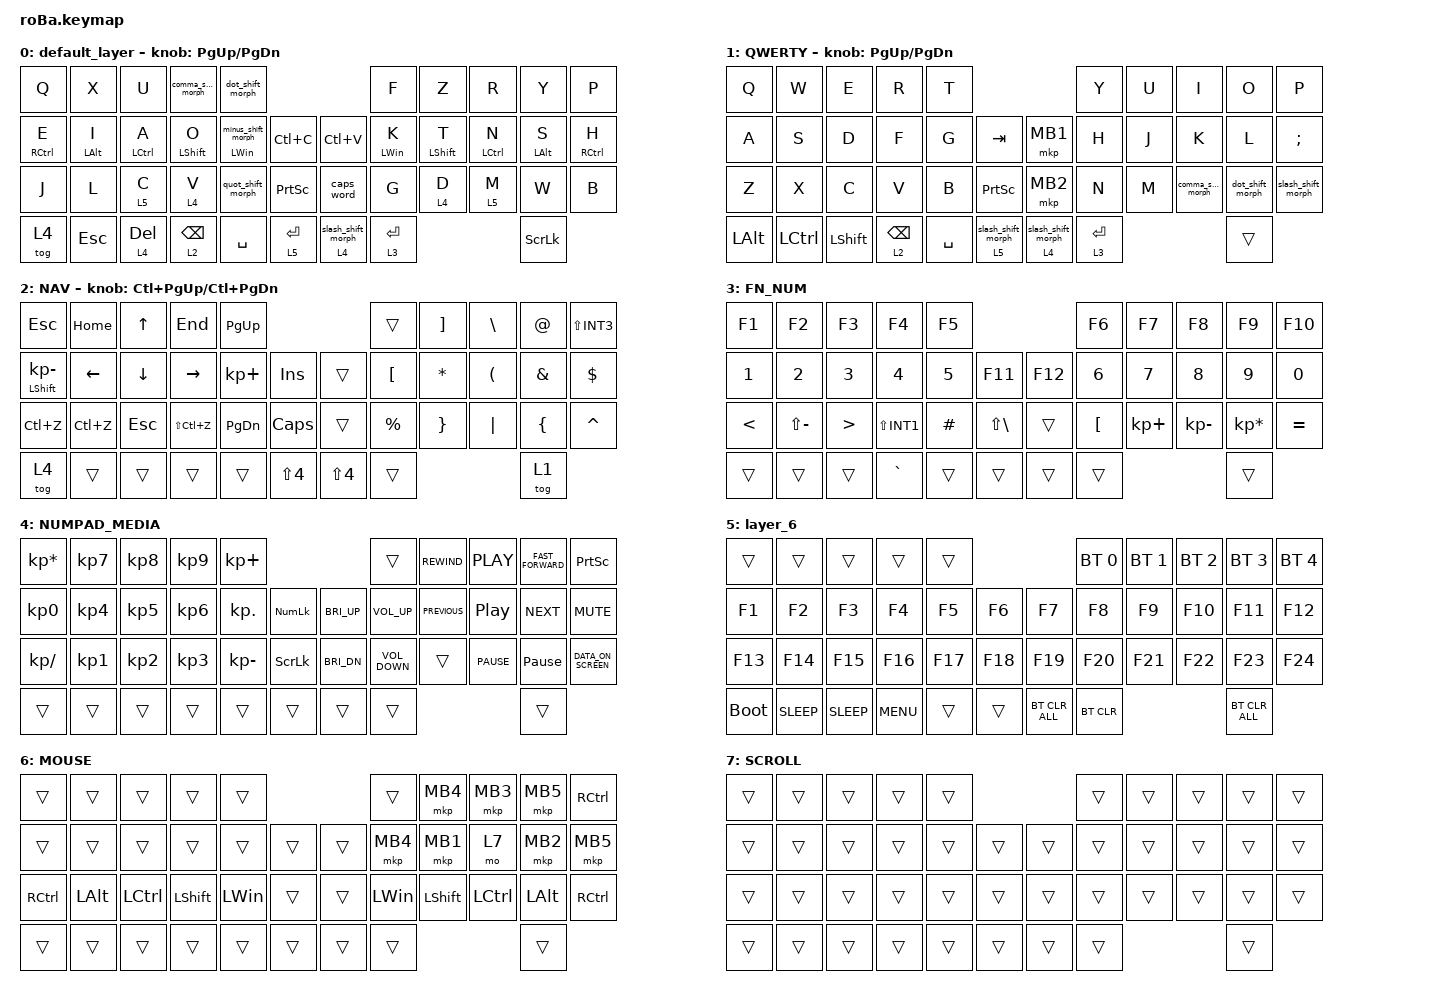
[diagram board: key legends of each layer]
#include <behaviors.dtsi>
#include <dt-bindings/zmk/bt.h>
#include <dt-bindings/zmk/keys.h>
#include <dt-bindings/zmk/pointing.h>
#include <dt-bindings/zmk/modifiers.h>

&mt {
    flavor = "balanced";
    tapping-term-ms = <150>;
    quick-tap-ms = <150>;
};

&lt {
    flavor = "balanced";
    tapping-term-ms = <150>;
    quick-tap-ms = <150>;
};

&trackball {
    automouse-layer = <6>;
    scroll-layers = <7>;

    // arrows {
    //     layers = <3>;
    //     bindings =
    //         <&kp RIGHT_ARROW>,
    //         <&kp LEFT_ARROW>,
    //         <&kp UP_ARROW>,
    //         <&kp DOWN_ARROW>;

    //     tick = <10>;
    //     wait-ms = <5>;
    //     tap-ms = <5>;
    // };
};

/ {
    combos {
        compatible = "zmk,combos";

        tab {
            bindings = <&kp TAB>;
            key-positions = <14 38>;
            timeout-ms = <100>;
        };

        shift_tab {
            bindings = <&kp LS(TAB)>;
            key-positions = <4 38>;
            timeout-ms = <100>;
        };

        eq {
            bindings = <&kp LS(MINUS)>;
            key-positions = <24 25>;
            timeout-ms = <80>;
        };

        ime_off {
            bindings = <&kp INT_MUHENKAN>;
            key-positions = <23 24>;
            timeout-ms = <80>;
        };

        ime_on {
            bindings = <&kp INT_HENKAN>;
            key-positions = <31 32>;
            timeout-ms = <80>;
        };

        bs_word {
            bindings = <&kp LC(BACKSPACE)>;
            key-positions = <26 37>;
            timeout-ms = <80>;
        };

        flow_launcher {
            bindings = <&kp F20>;
            key-positions = <37 41>;
            timeout-ms = <80>;
        };

        kill_left {
            bindings = <&kill_left_macro>;
            key-positions = <10 37>;
            timeout-ms = <80>;
        };

        kill_right {
            bindings = <&kill_right_macro>;
            key-positions = <21 37>;
            timeout-ms = <80>;
        };

        kill_all {
            bindings = <&kill_all_macro>;
            key-positions = <9 37>;
            timeout-ms = <80>;
        };

        bs2 {
            bindings = <&bs2_macro>;
            key-positions = <11 37>;
            timeout-ms = <80>;
        };

        bs3 {
            bindings = <&bs3_macro>;
            key-positions = <12 37>;
            timeout-ms = <80>;
        };

        bs4 {
            bindings = <&bs4_macro>;
            key-positions = <13 37>;
            timeout-ms = <80>;
        };

        bs5 {
            bindings = <&bs5_macro>;
            key-positions = <14 37>;
            timeout-ms = <80>;
        };

        bs6 {
            bindings = <&bs6_macro>;
            key-positions = <17 37>;
            timeout-ms = <80>;
        };

        bs7 {
            bindings = <&bs7_macro>;
            key-positions = <18 37>;
            timeout-ms = <80>;
        };

        bs8 {
            bindings = <&bs8_macro>;
            key-positions = <19 37>;
            timeout-ms = <80>;
        };

        bs9 {
            bindings = <&bs9_macro>;
            key-positions = <20 37>;
            timeout-ms = <80>;
        };

        del1 {
            bindings = <&kp DELETE>;
            key-positions = <0 37>;
            timeout-ms = <80>;
        };

        del2 {
            bindings = <&del2_macro>;
            key-positions = <1 37>;
            timeout-ms = <80>;
        };

        del3 {
            bindings = <&del3_macro>;
            key-positions = <2 37>;
            timeout-ms = <80>;
        };

        del4 {
            bindings = <&del4_macro>;
            key-positions = <3 37>;
            timeout-ms = <80>;
        };

        del5 {
            bindings = <&del5_macro>;
            key-positions = <4 37>;
            timeout-ms = <80>;
        };

        del6 {
            bindings = <&del6_macro>;
            key-positions = <5 37>;
            timeout-ms = <80>;
        };

        del7 {
            bindings = <&del7_macro>;
            key-positions = <6 37>;
            timeout-ms = <80>;
        };

        del8 {
            bindings = <&del8_macro>;
            key-positions = <7 37>;
            timeout-ms = <80>;
        };

        del9 {
            bindings = <&del9_macro>;
            key-positions = <8 37>;
            timeout-ms = <80>;
        };

        cut {
            bindings = <&kp LC(X)>;
            key-positions = <1 2>;
            timeout-ms = <80>;
        };

        copy {
            bindings = <&kp LC(C)>;
            key-positions = <2 3>;
            timeout-ms = <80>;
        };

        paste {
            bindings = <&kp LC(V)>;
            key-positions = <6 7>;
            timeout-ms = <80>;
        };
    };

    macros {
        to_layer_0: to_layer_0 {
            compatible = "zmk,behavior-macro-one-param";
            #binding-cells = <1>;
            bindings = <&to 0 &macro_param_1to1 &kp MACRO_PLACEHOLDER>;
            label = "TO_LAYER_0";
        };

        kill_left_macro: kill_left_macro {
            compatible = "zmk,behavior-macro";
            #binding-cells = <0>;
            bindings = <&kp LS(HOME)>, <&kp BACKSPACE>;
        };

        kill_right_macro: kill_right_macro {
            compatible = "zmk,behavior-macro";
            #binding-cells = <0>;
            bindings = <&kp LS(END)>, <&kp BACKSPACE>;
        };

        kill_all_macro: kill_all_macro {
            compatible = "zmk,behavior-macro";
            #binding-cells = <0>;
            bindings = <&kp HOME>, <&kp LS(END)>, <&kp BACKSPACE>;
        };

        bs2_macro: bs2_macro {
            compatible = "zmk,behavior-macro";
            #binding-cells = <0>;
            bindings = <&kp BACKSPACE>, <&kp BACKSPACE>;
        };

        bs3_macro: bs3_macro {
            compatible = "zmk,behavior-macro";
            #binding-cells = <0>;
            bindings = <&kp BACKSPACE>, <&kp BACKSPACE>, <&kp BACKSPACE>;
        };

        bs4_macro: bs4_macro {
            compatible = "zmk,behavior-macro";
            #binding-cells = <0>;
            bindings = <&kp BACKSPACE>, <&kp BACKSPACE>, <&kp BACKSPACE>, <&kp BACKSPACE>;
        };

        bs5_macro: bs5_macro {
            compatible = "zmk,behavior-macro";
            #binding-cells = <0>;
            bindings = <&kp BACKSPACE>, <&kp BACKSPACE>, <&kp BACKSPACE>, <&kp BACKSPACE>, <&kp BACKSPACE>;
        };

        bs6_macro: bs6_macro {
            compatible = "zmk,behavior-macro";
            #binding-cells = <0>;
            bindings = <&kp BACKSPACE>, <&kp BACKSPACE>, <&kp BACKSPACE>, <&kp BACKSPACE>, <&kp BACKSPACE>, <&kp BACKSPACE>;
        };

        bs7_macro: bs7_macro {
            compatible = "zmk,behavior-macro";
            #binding-cells = <0>;
            bindings = <&kp BACKSPACE>, <&kp BACKSPACE>, <&kp BACKSPACE>, <&kp BACKSPACE>, <&kp BACKSPACE>, <&kp BACKSPACE>, <&kp BACKSPACE>;
        };

        bs8_macro: bs8_macro {
            compatible = "zmk,behavior-macro";
            #binding-cells = <0>;
            bindings = <&kp BACKSPACE>, <&kp BACKSPACE>, <&kp BACKSPACE>, <&kp BACKSPACE>, <&kp BACKSPACE>, <&kp BACKSPACE>, <&kp BACKSPACE>, <&kp BACKSPACE>;
        };

        bs9_macro: bs9_macro {
            compatible = "zmk,behavior-macro";
            #binding-cells = <0>;
            bindings = <&kp BACKSPACE>, <&kp BACKSPACE>, <&kp BACKSPACE>, <&kp BACKSPACE>, <&kp BACKSPACE>, <&kp BACKSPACE>, <&kp BACKSPACE>, <&kp BACKSPACE>, <&kp BACKSPACE>;
        };

        del2_macro: del2_macro {
            compatible = "zmk,behavior-macro";
            #binding-cells = <0>;
            bindings = <&kp DELETE>, <&kp DELETE>;
        };

        del3_macro: del3_macro {
            compatible = "zmk,behavior-macro";
            #binding-cells = <0>;
            bindings = <&kp DELETE>, <&kp DELETE>, <&kp DELETE>;
        };

        del4_macro: del4_macro {
            compatible = "zmk,behavior-macro";
            #binding-cells = <0>;
            bindings = <&kp DELETE>, <&kp DELETE>, <&kp DELETE>, <&kp DELETE>;
        };

        del5_macro: del5_macro {
            compatible = "zmk,behavior-macro";
            #binding-cells = <0>;
            bindings = <&kp DELETE>, <&kp DELETE>, <&kp DELETE>, <&kp DELETE>, <&kp DELETE>;
        };

        del6_macro: del6_macro {
            compatible = "zmk,behavior-macro";
            #binding-cells = <0>;
            bindings = <&kp DELETE>, <&kp DELETE>, <&kp DELETE>, <&kp DELETE>, <&kp DELETE>, <&kp DELETE>;
        };

        del7_macro: del7_macro {
            compatible = "zmk,behavior-macro";
            #binding-cells = <0>;
            bindings = <&kp DELETE>, <&kp DELETE>, <&kp DELETE>, <&kp DELETE>, <&kp DELETE>, <&kp DELETE>, <&kp DELETE>;
        };

        del8_macro: del8_macro {
            compatible = "zmk,behavior-macro";
            #binding-cells = <0>;
            bindings = <&kp DELETE>, <&kp DELETE>, <&kp DELETE>, <&kp DELETE>, <&kp DELETE>, <&kp DELETE>, <&kp DELETE>, <&kp DELETE>;
        };

        del9_macro: del9_macro {
            compatible = "zmk,behavior-macro";
            #binding-cells = <0>;
            bindings = <&kp DELETE>, <&kp DELETE>, <&kp DELETE>, <&kp DELETE>, <&kp DELETE>, <&kp DELETE>, <&kp DELETE>, <&kp DELETE>, <&kp DELETE>;
        };
    };

    behaviors {
        lt_to_layer_0: lt_to_layer_0 {
            compatible = "zmk,behavior-hold-tap";
            label = "LAYER_TAP_TO_0";
            bindings = <&mo>, <&to_layer_0>;

            #binding-cells = <2>;
            flavor = "balanced";
            tapping-term-ms = <150>;
            quick-tap-ms = <150>;
        };

        comma_shift_morph: comma_shift_morph {
            compatible = "zmk,behavior-mod-morph";
            #binding-cells = <0>;
            bindings = <&kp COMMA>, <&kp SLASH>;
            mods = <(MOD_LSFT|MOD_RSFT)>;
            keep-mods = <(MOD_LSFT|MOD_RSFT)>;
        };

        dot_shift_morph: dot_shift_morph {
            compatible = "zmk,behavior-mod-morph";
            #binding-cells = <0>;
            bindings = <&kp DOT>, <&kp NUMBER_1>;
            mods = <(MOD_LSFT|MOD_RSFT)>;
            keep-mods = <(MOD_LSFT|MOD_RSFT)>;
        };

        quot_shift_morph: quot_shift_morph {
            compatible = "zmk,behavior-mod-morph";
            #binding-cells = <0>;
            bindings = <&kp SQT>, <&kp SEMICOLON>;
            mods = <(MOD_LSFT|MOD_RSFT)>;
        };

        minus_shift_morph: minus_shift_morph {
            compatible = "zmk,behavior-mod-morph";
            #binding-cells = <0>;
            bindings = <&kp MINUS>, <&kp EQUAL>;
            mods = <(MOD_LSFT|MOD_RSFT)>;
            keep-mods = <(MOD_LSFT|MOD_RSFT)>;
        };

        slash_shift_morph: slash_shift_morph {
            compatible = "zmk,behavior-mod-morph";
            #binding-cells = <0>;
            bindings = <&kp SLASH>, <&kp INT1>;
            mods = <(MOD_LSFT|MOD_RSFT)>;
        };

        mt_minus_morph: mt_minus_morph {
            compatible = "zmk,behavior-hold-tap";
            label = "MT_MINUS_MORPH";
            bindings = <&kp>, <&minus_shift_morph>;

            #binding-cells = <2>;
            flavor = "balanced";
            tapping-term-ms = <150>;
            quick-tap-ms = <150>;
        };

        lt_slash_morph: lt_slash_morph {
            compatible = "zmk,behavior-hold-tap";
            label = "LT_SLASH_MORPH";
            bindings = <&mo>, <&slash_shift_morph>;

            #binding-cells = <2>;
            flavor = "balanced";
            tapping-term-ms = <150>;
            quick-tap-ms = <150>;
        };
    };

    keymap {
        compatible = "zmk,keymap";

        default_layer {
            bindings = <
&kp Q                &kp X          &kp U              &comma_shift_morph &dot_shift_morph                                                        &kp F           &kp Z             &kp R               &kp Y           &kp P
&mt RIGHT_CONTROL E  &mt LEFT_ALT I &mt LEFT_CONTROL A &mt LEFT_SHIFT O   &mt_minus_morph LEFT_WIN 0  &kp LC(C)              &kp LC(V)            &mt LEFT_WIN K  &mt LEFT_SHIFT T  &mt LEFT_CONTROL N  &mt LEFT_ALT S  &mt RIGHT_CONTROL H
&kp J                &kp L          &lt 5 C            &lt 4 V            &quot_shift_morph           &kp PRINTSCREEN        &caps_word           &kp G           &lt 4 D           &lt 5 M             &kp W           &kp B
&tog 4         &kp ESCAPE     &lt 4 DELETE       &lt 2 BACKSPACE    &kp SPACE  &lt 5 ENTER                                   &lt_slash_morph 4 0  &lt 3 ENTER                                           &kp SLCK
            >;
            sensor-bindings = <&inc_dec_kp PG_UP PAGE_DOWN>;
        };

        QWERTY {
            bindings = <
&kp Q                &kp W            &kp E              &kp R             &kp T                                                                   &kp Y           &kp U             &kp I                   &kp O             &kp P
&kp A                &kp S            &kp D              &kp F             &kp G                       &kp TAB                &mkp MB1             &kp H           &kp J             &kp K                   &kp L             &kp SEMICOLON
&kp Z                &kp X            &kp C              &kp V             &kp B                       &kp PRINTSCREEN        &mkp MB2             &kp N           &kp M             &comma_shift_morph  &dot_shift_morph  &slash_shift_morph
&kp LEFT_ALT         &kp LEFT_CONTROL &kp LEFT_SHIFT     &lt 2 BACKSPACE   &kp SPACE  &lt_slash_morph 5 0                                           &lt_slash_morph 4 0  &lt 3 ENTER                                       &trans
            >;
            sensor-bindings = <&inc_dec_kp PG_UP PAGE_DOWN>;
        };

        NAV {
            bindings = <
&kp ESCAPE               &kp HOME        &kp UP_ARROW    &kp END          &kp PAGE_UP                                      &trans            &kp RIGHT_BRACKET  &kp BACKSLASH         &kp AT_SIGN     &kp LS(INT3)
&mt LEFT_SHIFT KP_MINUS  &kp LEFT_ARROW  &kp DOWN_ARROW  &kp RIGHT_ARROW  &kp KP_PLUS      &kp INSERT              &trans  &kp LEFT_BRACKET  &kp ASTERISK       &kp LEFT_PARENTHESIS  &kp AMPERSAND   &kp DOLLAR
&kp LC(Z)                &kp LC(Z)       &kp ESCAPE      &kp LS(LC(Z))    &kp PAGE_DOWN    &kp CAPSLOCK            &trans  &kp PERCENT       &kp RIGHT_BRACE    &kp PIPE              &kp LEFT_BRACE  &kp CARET
&tog 4                   &trans          &trans          &trans           &trans           &kp LS(N4)                 &kp LS(N4)  &trans                                                              &tog 1
            >;

            sensor-bindings = <&inc_dec_kp LC(PAGE_UP) LC(PAGE_DOWN)>;
        };

        FN_NUM {
            bindings = <
&kp F1        &kp F2        &kp F3            &kp F4        &kp F5                              &kp F6            &kp F7        &kp F8        &kp F9           &kp F10
&kp NUMBER_1  &kp NUMBER_2  &kp NUMBER_3      &kp NUMBER_4  &kp NUMBER_5  &kp F11      &kp F12  &kp NUMBER_6      &kp NUMBER_7  &kp NUMBER_8  &kp NUMBER_9     &kp NUMBER_0
&kp LESS_THAN &kp LS(MINUS) &kp GREATER_THAN  &kp LS(INT1)  &kp HASH      &kp LS(BSLH) &trans   &kp LEFT_BRACKET  &kp KP_PLUS   &kp KP_MINUS  &kp KP_MULTIPLY  &kp EQUAL
&trans   &trans          &trans          &kp GRAVE            &trans             &trans        &trans         &trans                              &trans
            >;
        };

        NUMPAD_MEDIA {
            bindings = <
&kp KP_MULTIPLY  &kp KP_N7  &kp KP_N8  &kp KP_N9  &kp KP_PLUS                                 &trans             &kp C_REWIND     &kp C_PLAY        &kp C_FAST_FORWARD &kp PRINTSCREEN
&kp KP_N0        &kp KP_N4  &kp KP_N5  &kp KP_N6  &kp KP_DOT   &kp KP_NUMLOCK   &kp C_BRI_UP  &kp C_VOLUME_UP    &kp C_PREVIOUS   &kp C_PLAY_PAUSE  &kp C_NEXT         &kp C_MUTE
&kp KP_DIVIDE    &kp KP_N1  &kp KP_N2  &kp KP_N3  &kp KP_MINUS &kp SCROLLLOCK   &kp C_BRI_DN  &kp C_VOLUME_DOWN  &trans           &kp C_PAUSE       &kp PAUSE_BREAK    &kp C_DATA_ON_SCREEN
&trans           &trans     &trans     &trans     &trans     &trans             &trans        &trans                                                                   &trans
            >;
        };

        layer_6 {
            bindings = <
&trans      &trans        &trans        &trans        &trans                             &bt BT_SEL 0  &bt BT_SEL 1  &bt BT_SEL 2  &bt BT_SEL 3  &bt BT_SEL 4
&kp F1      &kp F2        &kp F3        &kp F4        &kp F5  &kp F6      &kp F7         &kp F8        &kp F9        &kp F10       &kp F11       &kp F12
&kp F13     &kp F14       &kp F15       &kp F16       &kp F17 &kp F18     &kp F19        &kp F20       &kp F21       &kp F22       &kp F23       &kp F24
&bootloader &kp K_SLEEP   &kp C_SLEEP   &kp K_MENU        &trans  &trans      &bt BT_CLR_ALL &bt BT_CLR                                                 &bt BT_CLR_ALL
            >;
        };

        MOUSE {
            bindings = <
&trans    &trans   &trans    &trans     &trans                       &trans    &mkp MB4   &mkp MB3  &mkp MB5   &kp RCTRL
&trans    &trans   &trans    &trans     &trans   &trans      &trans  &mkp MB4  &mkp MB1   &mo 7     &mkp MB2   &mkp MB5
&kp RCTRL &kp LALT &kp LCTRL &kp LSHIFT &kp LWIN &trans      &trans  &kp LWIN  &kp LSHIFT &kp LCTRL &kp LALT   &kp RCTRL
&trans    &trans   &trans    &trans     &trans   &trans      &trans  &trans                                &trans
            >;
        };

        SCROLL {
            bindings = <
&trans  &trans  &trans  &trans  &trans                      &trans  &trans  &trans  &trans  &trans
&trans  &trans  &trans  &trans  &trans  &trans      &trans  &trans  &trans  &trans  &trans  &trans
&trans  &trans  &trans  &trans  &trans  &trans      &trans  &trans  &trans  &trans  &trans  &trans
&trans  &trans  &trans  &trans  &trans  &trans      &trans  &trans                          &trans
            >;
        };
    };
};
